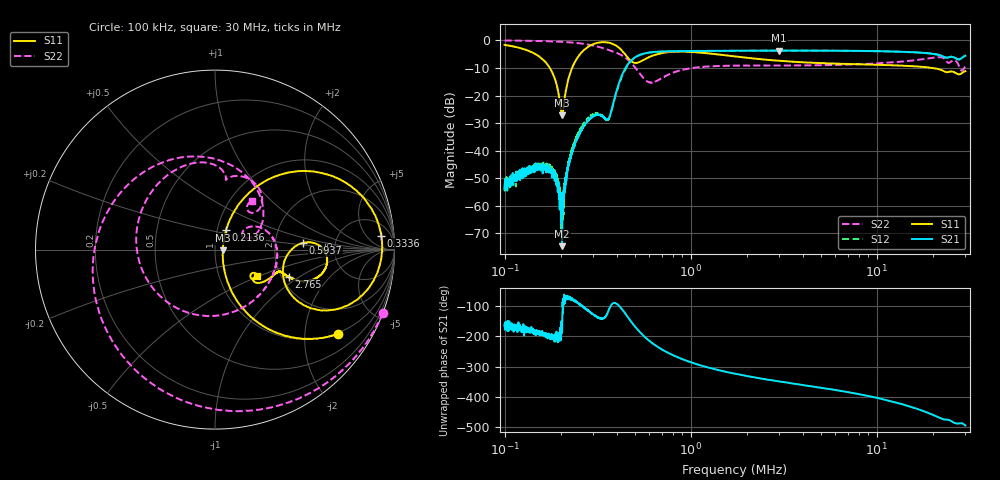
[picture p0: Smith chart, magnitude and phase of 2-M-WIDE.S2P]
!Keysight Technologies,E5063A,MY54504603,A.05.08
!Date: Wed Nov 25 12:59:57 2026
!Data & Calibration Information:
!Freq	S11:NONE(--)	S21:NONE(--)	S12:NONE(--)	S22:NONE(--)
# Hz S dB R 50
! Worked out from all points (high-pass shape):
!   5001 points, 100 kHz to 30 MHz, reference 50 ohm
!   highest |S21| = -3.67 dB at 2.991 MHz (marker M1); lowest = -74.7 dB at 203.7 kHz (marker M2)
!   |S21| within 3 dB of the highest: 489.8 kHz to 26.96 MHz (26.47 MHz wide, 193 % of centre); 28.26 MHz to end of sweep
!   lowest |S11| = -27.2 dB at 203.5 kHz (marker M3), VSWR 1.09, Z = 54.6 - j0.482 ohm
!   |S11| at or under -10 dB: 175.1 kHz to 230.5 kHz (55.36 kHz wide, 27.3 % of centre); 20.14 MHz to end of sweep
!   |S22| runs from -15.3 to 0.0 dB; largest |S21 - S12| = 0.015
!   S11 on the Smith chart (normalised r, x): 100 kHz: 0.96, -2.94; 213.6 kHz: 1.10, +0.24; 333.6 kHz: 12, +13; 593.7 kHz: 2.92, +0.28; 2.765 MHz: 2.18, -0.82; 30 MHz: 1.52, -0.48
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100000  -1.60 -34.5  -53.80 -160.3  -52.85 -166.6  0.01 -20.8
170662.4  -8.87 -64.9  -46.46 157.7  -46.26 166.8  -0.28 -49.8
186321.3  -13.93 -68.8  -49.72 164.5  -48.00 155.5  -0.37 -56.6
203479.1  -27.16 -5.8  -60.54 -153.8  -59.22 -156.3  -0.49 -64.5
203731.9  -27.13 -1.4  -74.67 176.3  -68.23 -92.4  -0.49 -64.5
213591.8  -18.14 60.4  -49.88 -67.7  -49.51 -62.7  -0.59 -69.4
258982.6  -4.37 45.5  -32.55 -96.1  -31.32 -98.1  -1.13 -94.2
333583.1  -0.64 4.8  -27.47 -140.5  -27.32 -145.6  -2.67 -150.4
364683  -0.84 -9.2  -28.01 -108.6  -28.15 -113.1  -3.50 178.1
422335.2  -3.30 -29.7  -13.54 -104.7  -13.94 -106.6  -5.24 109.9
481416.9  -7.60 -23.3  -7.11 -152.5  -7.30 -152.9  -8.28 48.5
593682.7  -6.14 4.2  -4.42 147.7  -4.46 146.6  -15.11 22.6
669687.6  -4.88 3.0  -4.06 124.4  -4.12 123.2  -14.41 33.5
931939.7  -4.07 -8.6  -3.83 81.1  -3.90 80.8  -10.44 21.3
1732051  -5.80 -19.9  -3.72 35.9  -3.74 35.9  -9.14 -7.9
2764510  -7.19 -20.4  -3.68 13.6  -3.69 13.7  -9.10 -26.2
2991059  -7.35 -20.2  -3.67 10.3  -3.68 10.4  -9.09 -29.6
4484814  -8.07 -18.9  -3.69 -6.1  -3.69 -6.0  -9.02 -49.8
1.159933e7  -8.96 -23.5  -3.97 -53.6  -4.00 -53.5  -8.04 -134.0
1.712462e7  -9.52 -30.8  -4.41 -84.6  -4.43 -84.3  -6.92 164.7
2.187201e7  -10.52 -38.5  -5.33 -111.3  -5.34 -111.0  -6.06 107.6
3e7  -11.15 -31.9  -5.52 -136.4  -5.52 -136.2  -9.25 52.9
